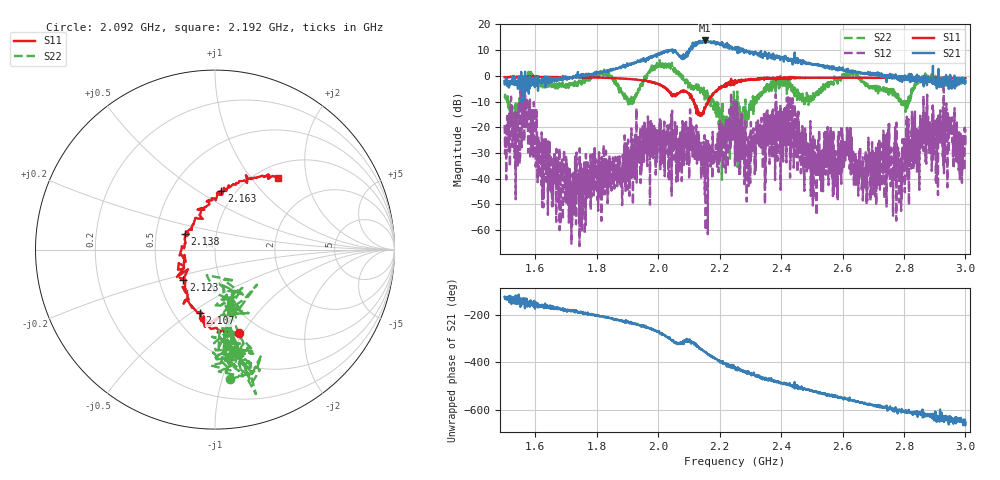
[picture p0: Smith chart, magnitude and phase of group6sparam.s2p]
!  11/15/2024  9:16:45 AM
! Ref Plane: 0.000 mm
# MHZ S MA R  50
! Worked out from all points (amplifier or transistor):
!   2001 points, 1.5 GHz to 3 GHz, reference 50 ohm
!   highest |S21| = 13.8 dB at 2.152 GHz (marker M1)
!   |S21| within 3 dB of that: 2.111 GHz to 2.23 GHz (119.6 MHz wide, 5.51 % of centre)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
!   unconditionally stable (mu >= 1): 1.861 GHz to 1.891 GHz; 2.131 GHz to 2.201 GHz; 2.776 GHz to 2.808 GHz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
!   at 1.75 GHz: K = 16.48, MAG = 12.2 dB, |S12| = -54.0 dB
!   at 2.25 GHz: K = 3.55, MAG = 14.6 dB, |S12| = -35.3 dB
!   at 3 GHz: K = 0.45, MSG = 9.3 dB, |S12| = -20.7 dB
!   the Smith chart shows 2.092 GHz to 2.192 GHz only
!   S11 on the Smith chart (normalised r, x): 2.092 GHz: 0.79, -0.96; 2.107 GHz: 0.67, -0.54; 2.123 GHz: 0.67, -0.24; 2.138 GHz: 0.70, +0.13; 2.163 GHz: 0.86, +0.63; 2.192 GHz: 1.23, +1.38
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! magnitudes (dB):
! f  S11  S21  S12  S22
! 1.5 GHz  -0.5  -2.0  -19.1  -8.7
! 1.532 GHz  -0.5  0.0  -19.1  -17.2
! 1.559 GHz  -0.5  -2.4  -12.5  -3.0
! 1.65 GHz  -0.5  -1.4  -30.8  -4.1
! 1.75 GHz  -0.6  0.7  -35.9  -2.2
! 1.913 GHz  -1.3  4.5  -20.5  -9.6
! 2 GHz  -3.3  8.1  -23.4  3.5
! 2.092 GHz  -6.3  8.9  -23.0  -2.8
! 2.107 GHz  -8.8  10.9  -23.4  -2.9
! 2.123 GHz  -12.3  12.8  -27.1  -4.7
! 2.138 GHz  -14.5  13.0  -26.0  -4.2
! 2.152 GHz  -12.4  13.8  -31.7  -6.4
! 2.163 GHz  -9.6  13.4  -29.2  -8.0
! 2.192 GHz  -5.4  12.4  -29.8  -10.5
! 2.25 GHz  -2.4  10.8  -35.3  -18.2
! 2.293 GHz  -1.5  9.3  -23.9  -14.4
! 2.426 GHz  -0.8  6.6  -25.2  -2.4
! 2.501 GHz  -0.8  4.5  -34.3  -8.2
! 2.628 GHz  -0.8  1.7  -34.5  2.1
! 2.75 GHz  -0.8  -0.7  -18.9  -5.2
! 2.871 GHz  -0.9  -2.1  -19.5  -1.2
! 3 GHz  -0.9  -2.1  -20.7  -1.3
